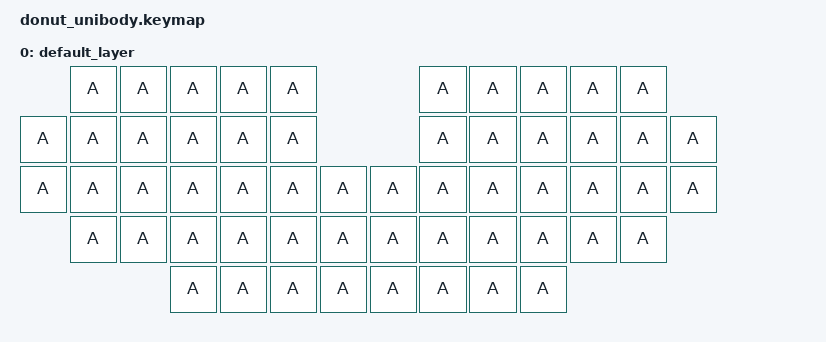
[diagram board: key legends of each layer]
#include <behaviors.dtsi>
#include <dt-bindings/zmk/bt.h>
#include <dt-bindings/zmk/keys.h>
#include <dt-bindings/zmk/outputs.h>
#include <dt-bindings/zmk/pointing.h>

/ {
    

    keymap {
        compatible = "zmk,keymap";

        default_layer {
            bindings = <
       &kp A &kp A &kp A &kp A &kp A                 &kp A &kp A &kp A &kp A &kp A  
&kp A  &kp A &kp A &kp A &kp A &kp A                 &kp A &kp A &kp A &kp A &kp A &kp A 
&kp A  &kp A &kp A &kp A &kp A &kp A &kp A     &kp A &kp A &kp A &kp A &kp A &kp A &kp A 
       &kp A &kp A &kp A &kp A &kp A &kp A     &kp A &kp A &kp A &kp A &kp A &kp A 
                   &kp A &kp A &kp A &kp A     &kp A &kp A &kp A &kp A

            >;
        };
    };
};
